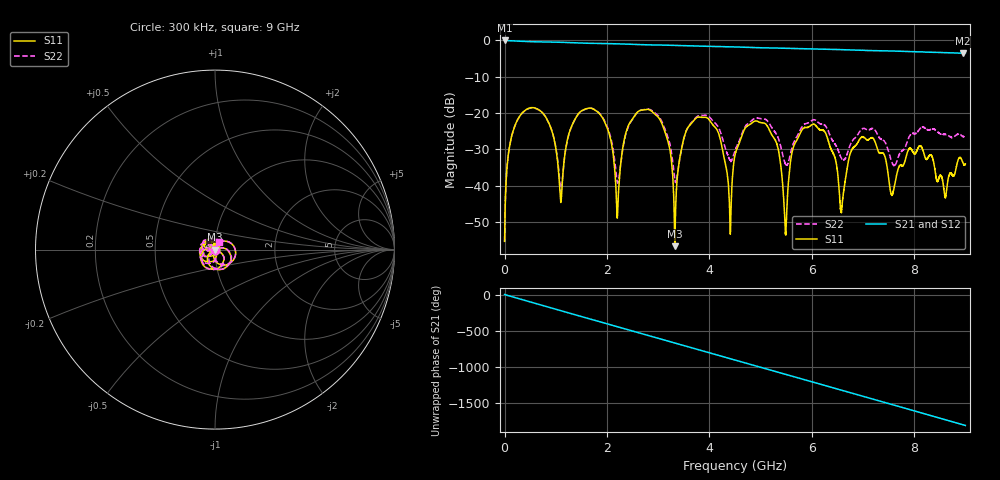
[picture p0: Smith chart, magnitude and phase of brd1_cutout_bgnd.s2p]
!Agilent Technologies,E8803A,US42160105,A.06.04.32
!Agilent E8803A: A.06.04.32
!Date: Wednesday, April 19, 2023 22:19:04
!Correction: S11(Full 2 Port(1,2)) S21(Full 2 Port(1,2)) S12(Full 2 Port(1,2)) S22(Full 2 Port(1,2))
!S2P File: Measurements: S11, S21, S12, S22:
# Hz S  dB  R 50
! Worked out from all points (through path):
!   6401 points, 300 kHz to 9 GHz, reference 50 ohm
!   highest |S21| = -0.02 dB at 300 kHz (marker M1); lowest = -3.5 dB at 8.954 GHz (marker M2)
!   group delay of S21, straight-line fit = 560 ps
!   lowest |S11| = -56.7 dB at 3.325 GHz (marker M3), VSWR 1.00, Z = 49.9 - j0.104 ohm
!   |S11| at or under -10 dB: start of sweep to end of sweep
!   |S22| runs from -55.5 to -18.6 dB; largest |S21 - S12| = 0.0041
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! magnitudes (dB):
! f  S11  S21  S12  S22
! 300 kHz  -55.3  0.0  0.0  -55.5
! 308.3 MHz  -20.6  -0.2  -0.2  -20.6
! 820.1 MHz  -21.5  -0.4  -0.4  -21.5
! 1.099 GHz  -44.6  -0.5  -0.5  -41.8
! 1.501 GHz  -19.4  -0.7  -0.7  -19.5
! 1.975 GHz  -23.1  -0.9  -0.9  -22.8
! 2.202 GHz  -48.8  -0.9  -0.9  -39.1
! 2.44 GHz  -22.8  -1.1  -1.1  -23.1
! 3.001 GHz  -21.1  -1.3  -1.3  -20.8
! 3.325 GHz  -56.7  -1.4  -1.4  -38.3
! 3.739 GHz  -21.4  -1.5  -1.5  -21.2
! 4.167 GHz  -25.1  -1.7  -1.7  -23.7
! 4.399 GHz  -48.3  -1.8  -1.8  -32.9
! 4.5 GHz  -31.7  -1.8  -1.8  -30.5
! 5.11 GHz  -23.2  -2.1  -2.1  -21.9
! 5.487 GHz  -52.9  -2.2  -2.2  -34.0
! 6.001 GHz  -23.2  -2.4  -2.4  -22.0
! 6.577 GHz  -47.5  -2.5  -2.5  -32.4
! 6.974 GHz  -26.6  -2.7  -2.7  -24.4
! 7.501 GHz  -37.9  -2.9  -2.9  -30.7
! 8.954 GHz  -33.8  -3.5  -3.5  -26.5
! 9 GHz  -34.0  -3.5  -3.5  -26.2
